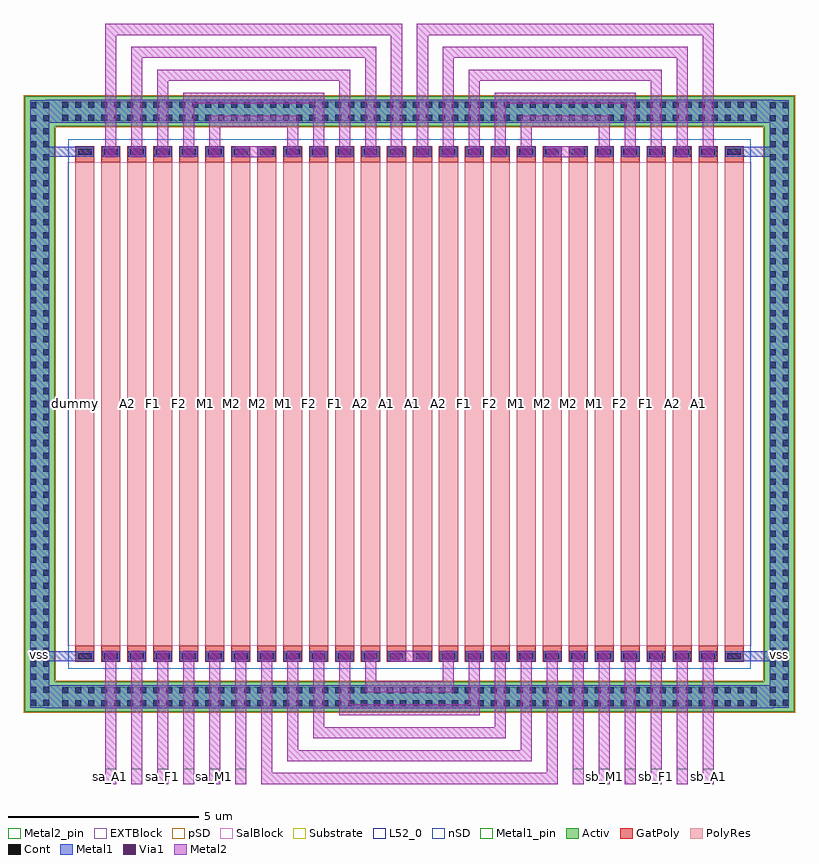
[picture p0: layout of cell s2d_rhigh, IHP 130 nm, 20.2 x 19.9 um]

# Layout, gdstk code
import gdstk
lib = gdstk.Library(unit=1e-6, precision=1e-09)
def R(c, l, rs):  # rectangles x0, y0, x1, y1
    for r in rs: c.add(gdstk.rectangle(r[:2], r[2:], *l))
def A(c, l, x, y, w, h, nx, ny, dx, dy):  # array of equal rectangles
    R(c, l, [(x+i*dx, y+j*dy, x+i*dx+w, y+j*dy+h) for i in range(nx) for j in range(ny)])
Activ = (1, 0)
GatPoly = (5, 0)
Cont = (6, 0)
nSD = (7, 0)
Metal1 = (8, 0)
Metal1_pin = (8, 2)
Metal2 = (10, 0)
Metal2_pin = (10, 2)
pSD = (14, 0)
Via1 = (19, 0)
SalBlock = (28, 0)
Substrate = (40, 0)
L52_0 = (52, 0)
EXTBlock = (111, 0)
PolyRes = (128, 0)

ptap1 = lib.new_cell('ptap1')
R(ptap1, Activ, [(0,0,0.78,16.11)])
A(ptap1, Cont, 0.14, 0.155, 0.16, 0.16, 1, 47, 0, 0.34)
A(ptap1, Cont, 0.48, 0.155, 0.16, 0.16, 1, 47, 0, 0.34)
R(ptap1, Metal1, [(0.14,0.105,0.64,16.005), (0.14,0.155,0.64,15.955)])
R(ptap1, Metal1_pin, [(0.14,0.155,0.64,15.955)])
R(ptap1, pSD, [(-0.03,-0.03,0.81,16.14)])
R(ptap1, Substrate, [(0,0,0.78,16.11)])
ptap1.add(gdstk.Label('sub!', (0.39,0.01), layer=63, texttype=0))
ptap1.add(gdstk.Label('sub!', (0.39,0.01), layer=40, texttype=0))

rhigh = lib.new_cell('rhigh')
R(rhigh, GatPoly, [(0,-0.43,0.5,0), (0,12.65,0.5,13.08)])
R(rhigh, Cont, [(0.07,-0.36,0.43,-0.2), (0.07,12.85,0.43,13.01)])
R(rhigh, nSD, [(-0.18,-0.61,0.68,0.18), (-0.18,0,0.68,12.65), (-0.18,0,0.68,12.65), (-0.18,12.47,0.68,13.26)])
R(rhigh, Metal1, [(0.02,-0.41,0.48,-0.15), (0.02,12.8,0.48,13.06)])
R(rhigh, Metal1_pin, [(0.02,-0.41,0.48,-0.15), (0.02,12.8,0.48,13.06)])
R(rhigh, pSD, [(-0.18,-0.61,0.68,0.18), (-0.18,0,0.68,12.65), (-0.18,0,0.68,12.65), (-0.18,12.47,0.68,13.26)])
R(rhigh, SalBlock, [(-0.2,0,0.7,12.65)])
R(rhigh, L52_0, [(0,0,0.5,12.65)])
R(rhigh, EXTBlock, [(-0.18,-0.61,0.68,0.18), (-0.2,0,0.7,12.65), (-0.18,12.47,0.68,13.26)])
R(rhigh, PolyRes, [(0,0,0.5,12.65)])
rhigh.add(gdstk.Label('rhigh r=37720.000', (0.25,6.325), layer=63, texttype=0))
rhigh.add(gdstk.Label('rhigh', (0.25,6.325), layer=52, texttype=0))

ptap1_2 = lib.new_cell('ptap1$2')
R(ptap1_2, Activ, [(0,0,18.58,0.78)])
A(ptap1_2, Cont, 0.2, 0.14, 0.16, 0.16, 54, 2, 0.34, 0.34)
R(ptap1_2, Metal1, [(0.2,0.09,18.38,0.69), (0.2,0.14,18.38,0.64)])
R(ptap1_2, Metal1_pin, [(0.2,0.14,18.38,0.64)])
R(ptap1_2, pSD, [(-0.03,-0.03,18.61,0.81)])
R(ptap1_2, Substrate, [(0,0,18.58,0.78)])
ptap1_2.add(gdstk.Label('sub!', (9.29,0.01), layer=63, texttype=0))
ptap1_2.add(gdstk.Label('sub!', (9.29,0.01), layer=40, texttype=0))

s2d_rhigh = lib.new_cell('s2d_rhigh')
R(s2d_rhigh, Metal1, [(-0.78,-1.64,-0.24,-1.04), (17.74,-1.64,18.28,-1.04), (-0.78,-0.41,0.33,-0.15), (17.17,-0.41,18.28,-0.15), (-0.78,12.8,0.33,13.06), (17.17,12.8,18.28,13.06), (-0.78,13.69,-0.24,14.29), (17.74,13.69,18.28,14.29)])
R(s2d_rhigh, Metal1_pin, [(-1.18,-0.435,-0.68,-0.035), (18.18,-0.435,18.68,-0.035)])
A(s2d_rhigh, Metal2_pin, 0.785, -3.625, 0.29, 0.4, 6, 1, 0.68, 0)
A(s2d_rhigh, Metal2_pin, 13.025, -3.625, 0.29, 0.4, 6, 1, 0.68, 0)
A(s2d_rhigh, Via1, 0.835, -0.375, 0.19, 0.19, 24, 2, 0.68, 13.21)
s2d_rhigh.add(gdstk.FlexPath([(0.93,12.93),(0.93,16.13),(8.41,16.13),(8.41,12.93)], 0.29, ends="extended", simple_path=True, layer=10, datatype=0))  # Metal2
s2d_rhigh.add(gdstk.FlexPath([(9.09,12.93),(9.09,16.13),(16.57,16.13),(16.57,12.93)], 0.29, ends="extended", simple_path=True, layer=10, datatype=0))  # Metal2
s2d_rhigh.add(gdstk.FlexPath([(8.41,-0.28),(9.09,-0.28)], 0.29, ends="extended", simple_path=True, layer=10, datatype=0))  # Metal2
s2d_rhigh.add(gdstk.FlexPath([(0.93,-0.28),(0.93,-3.48)], 0.29, ends="extended", simple_path=True, layer=10, datatype=0))  # Metal2
s2d_rhigh.add(gdstk.FlexPath([(16.57,-0.28),(16.57,-3.48)], 0.29, ends="extended", simple_path=True, layer=10, datatype=0))  # Metal2
s2d_rhigh.add(gdstk.FlexPath([(1.61,12.93),(1.61,15.53),(7.73,15.53),(7.73,12.93)], 0.29, ends="extended", simple_path=True, layer=10, datatype=0))  # Metal2
s2d_rhigh.add(gdstk.FlexPath([(9.77,12.93),(9.77,15.53),(15.89,15.53),(15.89,12.93)], 0.29, ends="extended", simple_path=True, layer=10, datatype=0))  # Metal2
s2d_rhigh.add(gdstk.FlexPath([(7.73,-0.28),(7.73,-1.08),(9.77,-1.08),(9.77,-0.28)], 0.29, ends="extended", simple_path=True, layer=10, datatype=0))  # Metal2
s2d_rhigh.add(gdstk.FlexPath([(1.61,-0.28),(1.61,-3.48)], 0.29, ends="extended", simple_path=True, layer=10, datatype=0))  # Metal2
s2d_rhigh.add(gdstk.FlexPath([(15.89,-0.28),(15.89,-3.48)], 0.29, ends="extended", simple_path=True, layer=10, datatype=0))  # Metal2
s2d_rhigh.add(gdstk.FlexPath([(2.29,12.93),(2.29,14.93),(7.05,14.93),(7.05,12.93)], 0.29, ends="extended", simple_path=True, layer=10, datatype=0))  # Metal2
s2d_rhigh.add(gdstk.FlexPath([(10.45,12.93),(10.45,14.93),(15.21,14.93),(15.21,12.93)], 0.29, ends="extended", simple_path=True, layer=10, datatype=0))  # Metal2
s2d_rhigh.add(gdstk.FlexPath([(7.05,-0.28),(7.05,-1.68),(10.45,-1.68),(10.45,-0.28)], 0.29, ends="extended", simple_path=True, layer=10, datatype=0))  # Metal2
s2d_rhigh.add(gdstk.FlexPath([(2.29,-0.28),(2.29,-3.48)], 0.29, ends="extended", simple_path=True, layer=10, datatype=0))  # Metal2
s2d_rhigh.add(gdstk.FlexPath([(15.21,-0.28),(15.21,-3.48)], 0.29, ends="extended", simple_path=True, layer=10, datatype=0))  # Metal2
s2d_rhigh.add(gdstk.FlexPath([(2.97,12.93),(2.97,14.33),(6.37,14.33),(6.37,12.93)], 0.29, ends="extended", simple_path=True, layer=10, datatype=0))  # Metal2
s2d_rhigh.add(gdstk.FlexPath([(11.13,12.93),(11.13,14.33),(14.53,14.33),(14.53,12.93)], 0.29, ends="extended", simple_path=True, layer=10, datatype=0))  # Metal2
s2d_rhigh.add(gdstk.FlexPath([(6.37,-0.28),(6.37,-2.28),(11.13,-2.28),(11.13,-0.28)], 0.29, ends="extended", simple_path=True, layer=10, datatype=0))  # Metal2
s2d_rhigh.add(gdstk.FlexPath([(2.97,-0.28),(2.97,-3.48)], 0.29, ends="extended", simple_path=True, layer=10, datatype=0))  # Metal2
s2d_rhigh.add(gdstk.FlexPath([(14.53,-0.28),(14.53,-3.48)], 0.29, ends="extended", simple_path=True, layer=10, datatype=0))  # Metal2
s2d_rhigh.add(gdstk.FlexPath([(3.65,12.93),(3.65,13.73),(5.69,13.73),(5.69,12.93)], 0.29, ends="extended", simple_path=True, layer=10, datatype=0))  # Metal2
s2d_rhigh.add(gdstk.FlexPath([(11.81,12.93),(11.81,13.73),(13.85,13.73),(13.85,12.93)], 0.29, ends="extended", simple_path=True, layer=10, datatype=0))  # Metal2
s2d_rhigh.add(gdstk.FlexPath([(5.69,-0.28),(5.69,-2.88),(11.81,-2.88),(11.81,-0.28)], 0.29, ends="extended", simple_path=True, layer=10, datatype=0))  # Metal2
s2d_rhigh.add(gdstk.FlexPath([(3.65,-0.28),(3.65,-3.48)], 0.29, ends="extended", simple_path=True, layer=10, datatype=0))  # Metal2
s2d_rhigh.add(gdstk.FlexPath([(13.85,-0.28),(13.85,-3.48)], 0.29, ends="extended", simple_path=True, layer=10, datatype=0))  # Metal2
s2d_rhigh.add(gdstk.FlexPath([(4.33,12.93),(5.01,12.93)], 0.29, ends="extended", simple_path=True, layer=10, datatype=0))  # Metal2
s2d_rhigh.add(gdstk.FlexPath([(12.49,12.93),(13.17,12.93)], 0.29, ends="extended", simple_path=True, layer=10, datatype=0))  # Metal2
s2d_rhigh.add(gdstk.FlexPath([(5.01,-0.28),(5.01,-3.48),(12.49,-3.48),(12.49,-0.28)], 0.29, ends="extended", simple_path=True, layer=10, datatype=0))  # Metal2
s2d_rhigh.add(gdstk.FlexPath([(4.33,-0.28),(4.33,-3.48)], 0.29, ends="extended", simple_path=True, layer=10, datatype=0))  # Metal2
s2d_rhigh.add(gdstk.FlexPath([(13.17,-0.28),(13.17,-3.48)], 0.29, ends="extended", simple_path=True, layer=10, datatype=0))  # Metal2
s2d_rhigh.add(gdstk.Reference(ptap1, (-1.32,-1.73)))
s2d_rhigh.add(gdstk.Reference(rhigh, (8.84,0)))
s2d_rhigh.add(gdstk.Reference(rhigh, (17,0)))
s2d_rhigh.add(gdstk.Reference(rhigh, (16.32,0)))
s2d_rhigh.add(gdstk.Reference(rhigh, (15.64,0)))
s2d_rhigh.add(gdstk.Reference(rhigh, (14.96,0)))
s2d_rhigh.add(gdstk.Reference(rhigh, (14.28,0)))
s2d_rhigh.add(gdstk.Reference(rhigh, (13.6,0)))
s2d_rhigh.add(gdstk.Reference(rhigh, (12.92,0)))
s2d_rhigh.add(gdstk.Reference(rhigh, (12.24,0)))
s2d_rhigh.add(gdstk.Reference(rhigh, (11.56,0)))
s2d_rhigh.add(gdstk.Reference(rhigh, (10.88,0)))
s2d_rhigh.add(gdstk.Reference(rhigh, (10.2,0)))
s2d_rhigh.add(gdstk.Reference(rhigh, (9.52,0)))
s2d_rhigh.add(gdstk.Reference(rhigh, (0,0)))
s2d_rhigh.add(gdstk.Reference(rhigh, (8.16,0)))
s2d_rhigh.add(gdstk.Reference(rhigh, (7.48,0)))
s2d_rhigh.add(gdstk.Reference(rhigh, (6.8,0)))
s2d_rhigh.add(gdstk.Reference(rhigh, (6.12,0)))
s2d_rhigh.add(gdstk.Reference(rhigh, (5.44,0)))
s2d_rhigh.add(gdstk.Reference(rhigh, (4.76,0)))
s2d_rhigh.add(gdstk.Reference(rhigh, (4.08,0)))
s2d_rhigh.add(gdstk.Reference(rhigh, (3.4,0)))
s2d_rhigh.add(gdstk.Reference(rhigh, (2.72,0)))
s2d_rhigh.add(gdstk.Reference(rhigh, (2.04,0)))
s2d_rhigh.add(gdstk.Reference(rhigh, (1.36,0)))
s2d_rhigh.add(gdstk.Reference(rhigh, (0.68,0)))
s2d_rhigh.add(gdstk.Reference(ptap1, (18.04,-1.73)))
s2d_rhigh.add(gdstk.Reference(ptap1_2, (-0.54,13.6)))
s2d_rhigh.add(gdstk.Reference(ptap1_2, (-0.54,-1.73)))
s2d_rhigh.add(gdstk.Label('dummy', (0,6.325), layer=63, texttype=0))
s2d_rhigh.add(gdstk.Label('A1', (0.68,6.325), layer=63, texttype=0))
s2d_rhigh.add(gdstk.Label('A2', (1.36,6.325), layer=63, texttype=0))
s2d_rhigh.add(gdstk.Label('F1', (2.04,6.325), layer=63, texttype=0))
s2d_rhigh.add(gdstk.Label('F2', (2.72,6.325), layer=63, texttype=0))
s2d_rhigh.add(gdstk.Label('M1', (3.4,6.325), layer=63, texttype=0))
s2d_rhigh.add(gdstk.Label('M2', (4.08,6.325), layer=63, texttype=0))
s2d_rhigh.add(gdstk.Label('M2', (4.76,6.325), layer=63, texttype=0))
s2d_rhigh.add(gdstk.Label('M1', (5.44,6.325), layer=63, texttype=0))
s2d_rhigh.add(gdstk.Label('F2', (6.12,6.325), layer=63, texttype=0))
s2d_rhigh.add(gdstk.Label('F1', (6.8,6.325), layer=63, texttype=0))
s2d_rhigh.add(gdstk.Label('A2', (7.48,6.325), layer=63, texttype=0))
s2d_rhigh.add(gdstk.Label('A1', (8.16,6.325), layer=63, texttype=0))
s2d_rhigh.add(gdstk.Label('A1', (8.84,6.325), layer=63, texttype=0))
s2d_rhigh.add(gdstk.Label('A2', (9.52,6.325), layer=63, texttype=0))
s2d_rhigh.add(gdstk.Label('F1', (10.2,6.325), layer=63, texttype=0))
s2d_rhigh.add(gdstk.Label('F2', (10.88,6.325), layer=63, texttype=0))
s2d_rhigh.add(gdstk.Label('M1', (11.56,6.325), layer=63, texttype=0))
s2d_rhigh.add(gdstk.Label('M2', (12.24,6.325), layer=63, texttype=0))
s2d_rhigh.add(gdstk.Label('M2', (12.92,6.325), layer=63, texttype=0))
s2d_rhigh.add(gdstk.Label('M1', (13.6,6.325), layer=63, texttype=0))
s2d_rhigh.add(gdstk.Label('F2', (14.28,6.325), layer=63, texttype=0))
s2d_rhigh.add(gdstk.Label('F1', (14.96,6.325), layer=63, texttype=0))
s2d_rhigh.add(gdstk.Label('A2', (15.64,6.325), layer=63, texttype=0))
s2d_rhigh.add(gdstk.Label('A1', (16.32,6.325), layer=63, texttype=0))
s2d_rhigh.add(gdstk.Label('dummy', (17,6.325), layer=63, texttype=0))
s2d_rhigh.add(gdstk.Label('vss', (-0.93,-0.235), layer=8, texttype=25))
s2d_rhigh.add(gdstk.Label('vss', (18.43,-0.235), layer=8, texttype=25))
s2d_rhigh.add(gdstk.Label('sa_A1', (0.93,-3.425), layer=10, texttype=25))
s2d_rhigh.add(gdstk.Label('sb_A1', (16.57,-3.425), layer=10, texttype=25))
s2d_rhigh.add(gdstk.Label('sa_A2', (1.61,-3.425), layer=10, texttype=25))
s2d_rhigh.add(gdstk.Label('sb_A2', (15.89,-3.425), layer=10, texttype=25))
s2d_rhigh.add(gdstk.Label('sa_F1', (2.29,-3.425), layer=10, texttype=25))
s2d_rhigh.add(gdstk.Label('sb_F1', (15.21,-3.425), layer=10, texttype=25))
s2d_rhigh.add(gdstk.Label('sa_F2', (2.97,-3.425), layer=10, texttype=25))
s2d_rhigh.add(gdstk.Label('sb_F2', (14.53,-3.425), layer=10, texttype=25))
s2d_rhigh.add(gdstk.Label('sa_M1', (3.65,-3.425), layer=10, texttype=25))
s2d_rhigh.add(gdstk.Label('sb_M1', (13.85,-3.425), layer=10, texttype=25))
s2d_rhigh.add(gdstk.Label('sa_M2', (4.33,-3.425), layer=10, texttype=25))
s2d_rhigh.add(gdstk.Label('sb_M2', (13.17,-3.425), layer=10, texttype=25))

lib.write_gds('s2d_rhigh.gds')
